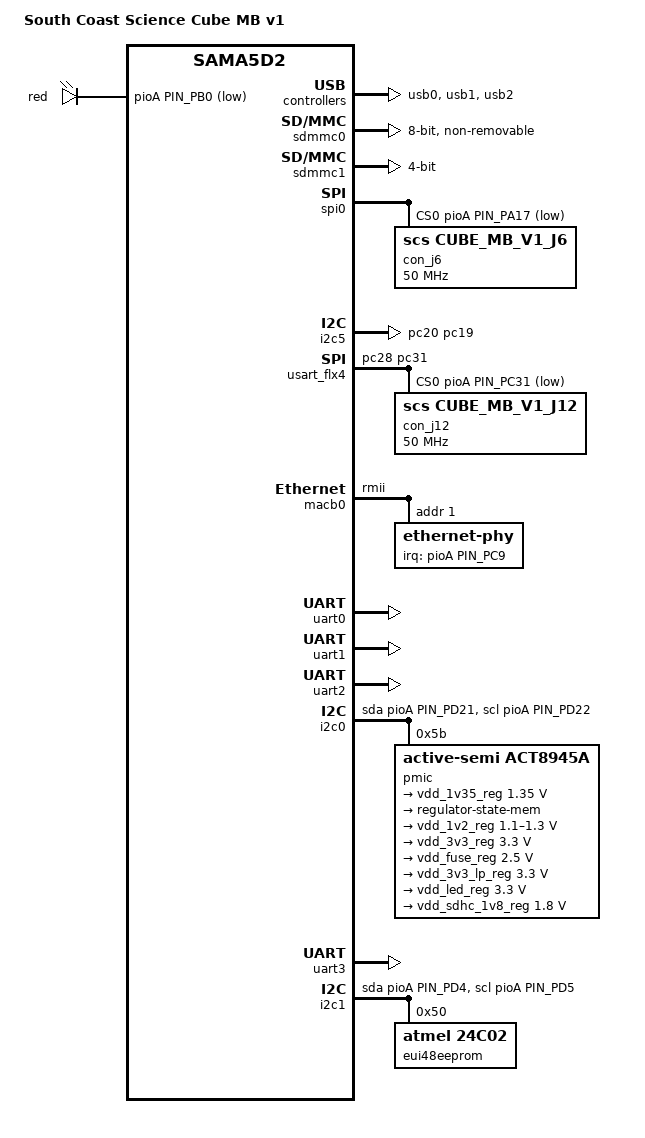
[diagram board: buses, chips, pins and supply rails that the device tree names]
// SPDX-License-Identifier: (GPL-2.0+)
/*
 * at91-sama5d27_scs_cubemb_v1.dts - Device Tree file for South Coast Science Cube Main Board v1
 *
 *  Copyright (C) 2015 Atmel,
 *                2015 Nicolas Ferre <nicolas.ferre@atmel.com>
 *
 *  Copyright (C) 2020 SEOSS Ltd.
 *                2020 Tim Small <tim@seoss.co.uk>
 */
/dts-v1/;
#include "sama5d2.dtsi"
#include "sama5d2-pinfunc.h"
#include <dt-bindings/mfd/atmel-flexcom.h>
#include <dt-bindings/pinctrl/at91.h>
#include <dt-bindings/gpio/gpio.h>
#include <dt-bindings/mfd/at91-usart.h>
#include <dt-bindings/regulator/active-semi,8945a-regulator.h>

/ {
	model = "South Coast Science Cube MB v1";
	compatible = "scs,sama5-cubemb-v1", "atmel,sama5d2", "atmel,sama5";

	aliases {
		serial0 = &uart0;	/* UART0 is connected to J16+J18 (NC) default  (J8 selectable with links) */
		serial1 = &uart1;       /* UART1 is connected to the FTDI USB <-> UART onboard and to J17 DBGU */
		serial2 = &uart2;       /* UART2 is connected to the stm32 */
		serial3 = &uart3;	/* UART3 is connected to J8 default (J16+J18 selectable with links) */
		i2c0    = &i2c0;
		i2c1    = &i2c1;
		i2c5    = &i2c5;
		/* spi0	= &spi6; */  /* flexcom4 SPI mode */
		/* spi0	= &uart9; */ /* flexcom4 USART mode */
		/* spi0	= &flx4_spi; */
		/* spi0	= &flx4_uart_spi; */
		spi0	= &usart_flx4;
		spi1	= &spi0;
        };

	chosen {
		stdout-path = "serial1:115200n8";
	};

	clocks {
		slow_xtal {
			clock-frequency = <32768>;
		};

		main_xtal {
			clock-frequency = <12000000>;
		};
	};

	ahb {
		usb0: gadget@300000 {
			atmel,vbus-gpio = <&pioA PIN_PA31 GPIO_ACTIVE_HIGH>;  // USBB_5V_PRES FIXME check this vs SOM?
			pinctrl-names = "default";
			pinctrl-0 = <&pinctrl_usba_vbus>;
			status = "okay";
		};

		usb1: ohci@400000 {
			num-ports = <3>;
			atmel,vbus-gpio = <0 
					   &pioA PIN_PB10 GPIO_ACTIVE_HIGH // signal USBA_EN5V
					   0
					  >;
			pinctrl-names = "default";
			pinctrl-0 = <&pinctrl_usb_default>;
			status = "okay";
		};

		usb2: ehci@500000 {
			status = "okay";
		};

		sdmmc0: sdio-host@a0000000 {
			bus-width = <8>;
			pinctrl-names = "default";
			pinctrl-0 = <&pinctrl_sdmmc0_default>;
			non-removable;
			mmc-ddr-1_8v;
			status = "okay";
		};

		sdmmc1: sdio-host@b0000000 {
			bus-width = <4>;
			pinctrl-names = "default";
			pinctrl-0 = <&pinctrl_sdmmc1_default>;
			status = "okay";
			/* TODO check with Jamie why this was commented out in his 49 dts? 
			   FIXME check cube MB schematic vs. sama5d2_xplained schematic
			vqmmc-supply = <&vdd_3v3_reg>;
			vmmc-supply = <&vdd_3v3_reg>;
			*/
		};

		apb {
			spi0: spi@f8000000 {
				pinctrl-names = "default";
				/* Function A  PA14 SPCK, PA15 MOSI, PA16 MISO, PA17 NPCS0  */
				/* pinctrl-0 = <&pinctrl_spi0_default>; */
				cs-gpios = <&pioA PIN_PA17 GPIO_ACTIVE_LOW>, <0>, <0>, <0>;
				/* defualt (low?) drive strength: */
				/* pinctrl-0 = <&pinctrl_spi0_def_nocs &pinctrl_spi0_cs>; */
				/* explicit drive for miso and ck pins */
				pinctrl-0 = <&pinctrl_spi0_ck_drv &pinctrl_spi0_mosi_drv &pinctrl_spi0_miso &pinctrl_spi0_cs>;
				status = "okay";

				/* This bus connected to external connector J6 */
				con_j6@0 {
					compatible = "scs,cube_mb_v1_j6";
					reg = <0>;
					spi-max-frequency = <50000000>;
				};
			};

			/* SPI1 signals are NC in this board revision         */
			spi1: spi@fc000000 {                            
				pinctrl-names = "default";              
				pinctrl-0 = <&pinctrl_spi1_default>;    
				status = "disabled";                        

				spidev1: spidev@0 {
					/* compatible = "";   // Currently NC */        
					reg = <0>;                      
					spi-max-frequency = <50000000>; 
				};                                      
			};                                              	

			/* FLEXCOM no. 3 SoC interface configured as i2c, with pins *
			 * clock: PC19, SDA: PC20.                                  *
			 * Jumper links (cur. unpopulated) make this avail on J10   */
			
			flx3: flexcom@fc014000 {
				atmel,flexcom-mode = <ATMEL_FLEXCOM_MODE_TWI>;
				status = "okay";

				i2c5: i2c@600 {
					compatible = "atmel,sama5d2-i2c";
					pinctrl-names = "default", "gpio";
					pinctrl-0 = <&pinctrl_flx3_i2c_pc20_pc19>;
					pinctrl-1 = <&pinctrl_flx3_i2c_pc20_pc19_gpio>;
					sda-gpios = <&pioA PIN_PC20 GPIO_ACTIVE_HIGH>;
					scl-gpios = <&pioA PIN_PC19 (GPIO_ACTIVE_HIGH | GPIO_OPEN_DRAIN)>;
					status = "okay";
				};
			};

			/* FIXME use new definitions from sama5d2.dtsi and just set pinctrl and status = okay */

			/* External SPI connector J12 ("FLEXCOM" no. 4 SoC interface   *
			 * pins PA28 to PA31 (Func B)                                  *
			 * Modifies flx4 definitions from sama5d2.dtsi                 *
			 * See Documentation/devicetree/bindings/mfd/atmel-flexcom.txt */
			flx4: flexcom@fc018000 {
				atmel,flexcom-mode = <ATMEL_FLEXCOM_MODE_USART>;
				status = "okay";

				spi6: spi@400 {
					#address-cells = <1>;
					#size-cells = <0>;
					//status = "okay";

					/* use spi usart driver instead */
					/* use spi usart driver instead */
					/* use spi usart driver instead */
					/* use spi usart driver instead */
					status = "disabled";

					pinctrl-names = "default";
					pinctrl-0 = <&pinctrl_flx4_spi_pc28_pc31>;
					//cs-gpios = <&pioA PIN_PC31 GPIO_ACTIVE_LOW>, <0>, <0>, <0>;
					cs-gpios = <&pioA PIN_PC31 GPIO_ACTIVE_LOW>;

					// This SPI bus brought out onto external connector J12
					con_j12@0 {
						compatible = "scs,cube_mb_v1_j12";
						reg = <0>;
						spi-max-frequency = <50000000>;
					};
				};

				usart_flx4: spi@200 { // n.b. USART peripheral utilised as SPI master.
					#address-cells = <1>;
					#size-cells = <0>;

					compatible = "atmel,at91rm9200-usart", "atmel,at91sam9260-usart", "at91_usart_spi";

					atmel,usart-mode = <AT91_USART_MODE_SPI>;
					pinctrl-names = "default";
					pinctrl-0 = <&pinctrl_flx4_spi_pc28_pc31>;
					reg = <0x200 0x200>;
					interrupts = <23 IRQ_TYPE_LEVEL_HIGH 7>;
					clocks = <&pmc PMC_TYPE_PERIPHERAL 23>;
					clock-names = "usart";
					dmas = <&dma0
						(AT91_XDMAC_DT_MEM_IF(0) |
						 AT91_XDMAC_DT_PER_IF(1) |
						 AT91_XDMAC_DT_PERID(19))>,
					       <&dma0
						(AT91_XDMAC_DT_MEM_IF(0) |
						 AT91_XDMAC_DT_PER_IF(1) |
						 AT91_XDMAC_DT_PERID(20))>;
					dma-names = "tx", "rx";
					atmel,fifo-size = <32>;
					cs-gpios = <&pioA PIN_PC31 GPIO_ACTIVE_LOW>;
					status = "okay";

					/* spi@0 {
						compatible = "microchip,at91sam9g45-usart-spi";
						reg = <0>;
					}; */

					con_j12@0 {
						compatible = "scs,cube_mb_v1_j12";
						reg = <0>;
						spi-max-frequency = <50000000>;
					};
				};

/*				flx4_spi: spi@400 {
					compatible = "atmel,at91rm9200-spi";
					reg = <0x400 0x200>;  // reg offset and length for spi peripheral within flexcom device
					// PID for FLEXCOM4 is 23, high level triggered, priority is 7
					// used to configure FLEXCOM4 interrupt in AIC
					interrupts = <23 IRQ_TYPE_LEVEL_HIGH 7>;
					#address-cells = <1>;
					#size-cells = <0>;
					dmas = <&dma0
					(AT91_XDMAC_DT_MEM_IF(0) | AT91_XDMAC_DT_PER_IF(1) |
					 AT91_XDMAC_DT_PERID(19))>,
					<&dma0
					(AT91_XDMAC_DT_MEM_IF(0) | AT91_XDMAC_DT_PER_IF(1) |
					 AT91_XDMAC_DT_PERID(20))>;
					dma-names = "tx", "rx";
					clocks = <&pmc PMC_TYPE_PERIPHERAL 23>;
					clock-names = "spi_clk";
					pinctrl-names = "default";
					pinctrl-0 = <&pinctrl_flx4_spi_pc28_pc31>;
					atmel,fifo-size = <16>;
					// status = "disabled"; //  use spi usart driver instead
					status = "okay";

					con_j12@0 {                     
						compatible = "scs,cube_mb_v1_j12";
						reg = <0>;
						spi-max-frequency = <50000000>; 
					};

				}; 
/*

/*				uart9: serial@200 {
					compatible = "atmel,at91sam9260-usart";
					reg = <0x200 0x200>;
					interrupts = <23 IRQ_TYPE_LEVEL_HIGH 7>;
					clocks = <&pmc PMC_TYPE_PERIPHERAL 23>;
					clock-names = "usart";
					dmas = <&dma0
						(AT91_XDMAC_DT_MEM_IF(0) |
						 AT91_XDMAC_DT_PER_IF(1) |
						 AT91_XDMAC_DT_PERID(19))>,
					       <&dma0
						(AT91_XDMAC_DT_MEM_IF(0) |
						 AT91_XDMAC_DT_PER_IF(1) |
						 AT91_XDMAC_DT_PERID(20))>;
					dma-names = "tx", "rx";
					atmel,fifo-size = <32>;
					status = "disabled";
				}; */

/*				flx4_usart_spi: usart_spi@200 {
					compatible = "atmel,at91rm9200-usart", "atmel,at91sam9260-usart";
					atmel,usart-mode = <AT91_USART_MODE_SPI>;
					reg = <0x200 0x200>;
				}; */

				i2c@600 {
					status = "disabled";
				};
			};

			macb0: ethernet@f8008000 {
				pinctrl-names = "default";
				pinctrl-0 = <&pinctrl_macb0_default &pinctrl_macb0_phy_irq>;
				phy-mode = "rmii";
				status = "okay";

				ethernet-phy@1 {
					reg = <0x1>;
					interrupt-parent = <&pioA>;
					interrupts = <PIN_PC9 IRQ_TYPE_LEVEL_LOW>;
				};
			};

			/* n.b. FIXME, review. This tcb block absent from Jamie's 4.19.x device table */
			tcb0: timer@f800c000 {
				timer0: timer@0 {
					compatible = "atmel,tcb-timer";
					reg = <0>;
				};

				timer1: timer@1 {
					compatible = "atmel,tcb-timer";
					reg = <1>;
				};
			};
			uart0: serial@f801c000 {
				pinctrl-names = "default";
				pinctrl-0 = <&pinctrl_uart0_default>;
				atmel,use-dma-rx;
				atmel,use-dma-tx;
				status = "okay";
			};

			uart1: serial@f8020000 {
				pinctrl-names = "default";
				pinctrl-0 = <&pinctrl_uart1_default>;
				atmel,use-dma-rx;
				atmel,use-dma-tx;
				status = "okay";
			};

			uart2: serial@f8024000 {
				pinctrl-names = "default";
				pinctrl-0 = <&pinctrl_uart2_default>;
				atmel,use-dma-rx;
				atmel,use-dma-tx;
				status = "okay";
			};


			/* I2C0 connected to PMIC only (not brought out to external connectors) */
			i2c0: i2c@f8028000 {
				dmas = <0>, <0>;
				pinctrl-names = "default", "gpio";
				pinctrl-0 = <&pinctrl_i2c0_default>;
				pinctrl-1 = <&pinctrl_i2c0_gpio>;
				sda-gpios = <&pioA PIN_PD21 GPIO_ACTIVE_HIGH>;
				scl-gpios = <&pioA PIN_PD22 (GPIO_ACTIVE_HIGH | GPIO_OPEN_DRAIN)>;
				i2c-sda-hold-time-ns = <350>;
				status = "okay";

				pmic@5b {
					compatible = "active-semi,act8945a";
					reg = <0x5b>;
					active-semi,vsel-high;
					status = "okay";

					regulators {
						vdd_1v35_reg: REG_DCDC1 {
							regulator-name = "VDD_1V35";
							regulator-min-microvolt = <1350000>;
							regulator-max-microvolt = <1350000>;
							regulator-allowed-modes = <ACT8945A_REGULATOR_MODE_FIXED>,
										  <ACT8945A_REGULATOR_MODE_LOWPOWER>;
							regulator-initial-mode = <ACT8945A_REGULATOR_MODE_FIXED>;
							regulator-always-on;

							regulator-state-mem {
								regulator-on-in-suspend;
								regulator-suspend-min-microvolt=<1400000>;
								regulator-suspend-max-microvolt=<1400000>;
								regulator-changeable-in-suspend;
								regulator-mode=<ACT8945A_REGULATOR_MODE_LOWPOWER>;
							};
						};

						vdd_1v2_reg: REG_DCDC2 {
							regulator-name = "VDD_1V2";
							regulator-min-microvolt = <1100000>;
							regulator-max-microvolt = <1300000>;
							regulator-allowed-modes = <ACT8945A_REGULATOR_MODE_FIXED>,
										  <ACT8945A_REGULATOR_MODE_LOWPOWER>;
							regulator-initial-mode = <ACT8945A_REGULATOR_MODE_FIXED>;
							regulator-always-on;

							regulator-state-mem {
								regulator-off-in-suspend;
							};
						};

						vdd_3v3_reg: REG_DCDC3 {
							regulator-name = "VDD_3V3";
							regulator-min-microvolt = <3300000>;
							regulator-max-microvolt = <3300000>;
							regulator-allowed-modes = <ACT8945A_REGULATOR_MODE_FIXED>,
										  <ACT8945A_REGULATOR_MODE_LOWPOWER>;
							regulator-initial-mode = <ACT8945A_REGULATOR_MODE_FIXED>;
							regulator-always-on;

							regulator-state-mem {
								regulator-off-in-suspend;
							};
						};

						vdd_fuse_reg: REG_LDO1 {
							regulator-name = "VDD_FUSE";
							regulator-min-microvolt = <2500000>;
							regulator-max-microvolt = <2500000>;
							regulator-allowed-modes = <ACT8945A_REGULATOR_MODE_NORMAL>,
										  <ACT8945A_REGULATOR_MODE_LOWPOWER>;
							regulator-initial-mode = <ACT8945A_REGULATOR_MODE_NORMAL>;
							regulator-always-on;

							regulator-state-mem {
								regulator-off-in-suspend;
							};
						};

						vdd_3v3_lp_reg: REG_LDO2 {
							regulator-name = "VDD_3V3_LP";
							regulator-min-microvolt = <3300000>;
							regulator-max-microvolt = <3300000>;
							regulator-allowed-modes = <ACT8945A_REGULATOR_MODE_NORMAL>,
										  <ACT8945A_REGULATOR_MODE_LOWPOWER>;
							regulator-initial-mode = <ACT8945A_REGULATOR_MODE_NORMAL>;
							regulator-always-on;

							regulator-state-mem {
								regulator-off-in-suspend;
							};
						};

						vdd_led_reg: REG_LDO3 {
							regulator-name = "VDD_LED";
							regulator-min-microvolt = <3300000>;
							regulator-max-microvolt = <3300000>;
							regulator-allowed-modes = <ACT8945A_REGULATOR_MODE_NORMAL>,
										  <ACT8945A_REGULATOR_MODE_LOWPOWER>;
							regulator-initial-mode = <ACT8945A_REGULATOR_MODE_NORMAL>;
							regulator-always-on;

							regulator-state-mem {
								regulator-off-in-suspend;
							};
						};

						vdd_sdhc_1v8_reg: REG_LDO4 {
							regulator-name = "VDD_SDHC_1V8";
							regulator-min-microvolt = <1800000>;
							regulator-max-microvolt = <1800000>;
							regulator-allowed-modes = <ACT8945A_REGULATOR_MODE_NORMAL>,
										  <ACT8945A_REGULATOR_MODE_LOWPOWER>;
							regulator-initial-mode = <ACT8945A_REGULATOR_MODE_NORMAL>;
							regulator-always-on;

							regulator-state-mem {
								regulator-off-in-suspend;
							};
						};
					};

					charger {
						compatible = "active-semi,act8945a-charger";
						pinctrl-names = "default";
						pinctrl-0 = <&pinctrl_charger_chglev &pinctrl_charger_lbo &pinctrl_charger_irq>;
						interrupt-parent = <&pioA>;
						interrupts = <PIN_PB13 IRQ_TYPE_EDGE_RISING>;

						active-semi,chglev-gpios = <&pioA PIN_PA12 GPIO_ACTIVE_HIGH>;
						active-semi,lbo-gpios = <&pioA PIN_PC8 GPIO_ACTIVE_LOW>;
						active-semi,input-voltage-threshold-microvolt = <6600>;
						active-semi,precondition-timeout = <40>;
						active-semi,total-timeout = <3>;
						status = "okay";
					};
				};
			};

			shdwc@f8048010 {
				atmel,shdwc-debouncer = <976>;
				atmel,wakeup-rtc-timer;

				input@0 {
					reg = <0>;
					atmel,wakeup-type = "low";
				};
			};

			watchdog@f8048040 {
				status = "okay";
			};

			uart3: serial@fc008000 {
				atmel,use-dma-rx;
				atmel,use-dma-tx;
				pinctrl-names = "default";
				pinctrl-0 = <&pinctrl_uart3_default>;
				status = "okay";
			};

			/* I2C1 connected to J7, J9, J10 (resistor links default), J11, MCU, 24AA02 */
			/* I2C resistor links to J10 */
			i2c1: i2c@fc028000 {
				dmas = <0>, <0>;
				pinctrl-names = "default", "gpio";
				pinctrl-0 = <&pinctrl_i2c1_default>;
				i2c-analog-filter;
				i2c-digital-filter;
				i2c-digital-filter-width-ns = <35>;
				pinctrl-1 = <&pinctrl_i2c1_gpio>;
				sda-gpios = <&pioA PIN_PD4 GPIO_ACTIVE_HIGH>;
				scl-gpios = <&pioA PIN_PD5 (GPIO_ACTIVE_HIGH | GPIO_OPEN_DRAIN)>;
				status = "okay";

				/* 24AA02E48T-I/OT 2 Kbit, 8-byte page, I²C EEPROM with EUI-48 Node Identity */
				/* n.b. This responds on addresses 0x50 to 0x57 */
				eui48eeprom: eeprom@50 {
					compatible = "atmel,24c02", "microchip,24aa02e48";
					reg = <0x50>;
					pagesize = <8>;
				};
			};

			pinctrl@fc038000 {

				pinctrl_charger_chglev: charger_chglev {
					pinmux = <PIN_PA12__GPIO>;
					bias-disable;
				};

				pinctrl_charger_irq: charger_irq {
					pinmux = <PIN_PB13__GPIO>;
					bias-disable;
				};

				pinctrl_charger_lbo: charger_lbo {
					pinmux = <PIN_PC8__GPIO>;
					bias-pull-up;
				};


/* FIXME add flexcom3 i2c gpio */
				pinctrl_flx3_i2c_pc20_pc19: flx3_i2c_pc20_pc19 {
					pinmux = <PIN_PC20__FLEXCOM3_IO0>,
						 <PIN_PC19__FLEXCOM3_IO1>;
					bias-disable;
				};

				pinctrl_flx3_i2c_pc20_pc19_gpio: flx3_i2c_pc20_pc19 {
					pinmux = <PIN_PC20__GPIO>,
						 <PIN_PC19__GPIO>;
					bias-disable;
				};

				/* Flexcom 4 IO Set 1, function B - ref SAMA5D2 Series Datasheet Section 6.2 Pinouts */
				pinctrl_flx4_spi_pc28_pc31: flx4_spi_pc28_pc31 {
					pinmux = <PIN_PC28__FLEXCOM4_IO0>,  /* SPI MOSI */
						 <PIN_PC29__FLEXCOM4_IO1>,  /* SPI MISO */
						 <PIN_PC30__FLEXCOM4_IO2>,  /* SPI SPCK */
						 <PIN_PC31__FLEXCOM4_IO3>;  /* PC31 is used for CS0 - FIXME Check */
					bias-disable;
				};

				pinctrl_i2c0_default: i2c0_default {
					pinmux = <PIN_PD21__TWD0>,
						 <PIN_PD22__TWCK0>;
					bias-disable;
				};

				pinctrl_i2c0_gpio: i2c0_gpio {
					pinmux = <PIN_PD21__GPIO>,
						 <PIN_PD22__GPIO>;
					bias-disable;
				};

				pinctrl_i2c1_default: i2c1_default {
					pinmux = <PIN_PD4__TWD1>,
						 <PIN_PD5__TWCK1>;
					bias-disable;
				};

				pinctrl_i2c1_gpio: i2c1_gpio {
					pinmux = <PIN_PD4__GPIO>,
						 <PIN_PD5__GPIO>;
					bias-disable;
				};


				pinctrl_key_gpio_default: key_gpio_default {
					pinmux = <PIN_PB9__GPIO>;
					bias-pull-up;
				};

				pinctrl_led_gpio_default: led_gpio_default {
					pinmux = <PIN_PB0__GPIO>,
						 <PIN_PB5__GPIO>,
						 <PIN_PB6__GPIO>;
					bias-pull-up;
				};

				pinctrl_macb0_default: macb0_default {
					pinmux = <PIN_PB14__GTXCK>,
						 <PIN_PB15__GTXEN>,
						 <PIN_PB16__GRXDV>,
						 <PIN_PB17__GRXER>,
						 <PIN_PB18__GRX0>,
						 <PIN_PB19__GRX1>,
						 <PIN_PB20__GTX0>,
						 <PIN_PB21__GTX1>,
						 <PIN_PB22__GMDC>,
						 <PIN_PB23__GMDIO>;
					bias-disable;
				};

				pinctrl_macb0_phy_irq: macb0_phy_irq {
					pinmux = <PIN_PC9__GPIO>;
					bias-disable;
				};

				pinctrl_sdmmc0_default: sdmmc0_default {
					cmd_data {
						pinmux = <PIN_PA1__SDMMC0_CMD>,
							 <PIN_PA2__SDMMC0_DAT0>,
							 <PIN_PA3__SDMMC0_DAT1>,
							 <PIN_PA4__SDMMC0_DAT2>,
							 <PIN_PA5__SDMMC0_DAT3>,
							 <PIN_PA6__SDMMC0_DAT4>,
							 <PIN_PA7__SDMMC0_DAT5>,
							 <PIN_PA8__SDMMC0_DAT6>,
							 <PIN_PA9__SDMMC0_DAT7>;
						bias-disable;
					};

					ck_cd_rstn_vddsel {
						pinmux = <PIN_PA0__SDMMC0_CK>,
							 <PIN_PA10__SDMMC0_RSTN>,
							 <PIN_PA11__SDMMC0_VDDSEL>,
							 <PIN_PA13__SDMMC0_CD>;
						bias-disable;
					};
				};

				pinctrl_sdmmc1_default: sdmmc1_default {
					cmd_data {
						pinmux = <PIN_PA28__SDMMC1_CMD>,
							 <PIN_PA18__SDMMC1_DAT0>,
							 <PIN_PA19__SDMMC1_DAT1>,
							 <PIN_PA20__SDMMC1_DAT2>,
							 <PIN_PA21__SDMMC1_DAT3>;
						bias-disable;
					};

					conf-ck_cd {
						pinmux = <PIN_PA22__SDMMC1_CK>,
							 <PIN_PA30__SDMMC1_CD>;
						bias-disable;
					};
				};

				pinctrl_spi0_default: spi0_default {
					pinmux = <PIN_PA14__SPI0_SPCK>,
						 <PIN_PA15__SPI0_MOSI>,
						 <PIN_PA16__SPI0_MISO>,
						 <PIN_PA17__SPI0_NPCS0>;
					bias-disable;
				};

				pinctrl_spi0_def_nocs: spi0_def_nocs {
					pinmux = <PIN_PA14__SPI0_SPCK>,
						 <PIN_PA15__SPI0_MOSI>,
						 <PIN_PA16__SPI0_MISO>;
					bias-disable;
				};

				pinctrl_spi0_ck_drv: spi0_def_ck_drv {
					pinmux = <PIN_PA14__SPI0_SPCK>;
					bias-disable;
					atmel,drive-strength = <ATMEL_PIO_DRVSTR_ME>;
				};

				pinctrl_spi0_mosi_drv: spi0_mosi_drv {
					pinmux = <PIN_PA15__SPI0_MOSI>;
					bias-disable;
					atmel,drive-strength = <ATMEL_PIO_DRVSTR_ME>;
				};

				pinctrl_spi0_miso: spi0_miso {
					pinmux = <PIN_PA16__SPI0_MISO>;
					bias-disable;
				};

				pinctrl_spi0_cs: spi0_cs {

					pinmux = <PIN_PA17__SPI0_NPCS0>;
					bias-disable;
				};

				/* START review Block added by Jamie to his 4-19 kernel device tree */
				pinctrl_spi1_default: spi1_default {   
					pinmux = <PIN_PC1__SPI1_SPCK>, 
						 <PIN_PC2__SPI1_MOSI>, 
						 <PIN_PC3__SPI1_MISO>, 
						 <PIN_PC4__SPI1_NPCS0>;
					bias-disable;                  
				};                                     
								       
				pinctrl_uart0_default: uart0_default { 
					pinmux = <PIN_PB26__URXD0>,    
						 <PIN_PB27__UTXD0>;    
					bias-disable;                  
				};                                     
				/* END review Block added by Jamie to his 4-19 kernel device tree */

				pinctrl_uart1_default: uart1_default {
					pinmux = <PIN_PD2__URXD1>,
						 <PIN_PD3__UTXD1>;
					bias-disable;
				};

				/* START review Block added by Jamie to his 4-19 kernel device tree */
				pinctrl_uart2_default: uart2_default {
					pinmux = <PIN_PD23__URXD2>,   
						 <PIN_PD24__UTXD2>;   
					bias-disable;                 
				};                                    
				/* END review Block added by Jamie to his 4-19 kernel device tree */

				pinctrl_uart3_default: uart3_default {
					pinmux = <PIN_PB11__URXD3>,
						 <PIN_PB12__UTXD3>;
					bias-disable;
				};

				/* FIXME FIXME check this  */
				pinctrl_usb_default: usb_default {
					/* pinmux line changed (by Jamie?) */
					/* pinmux = <PIN_PB10__GPIO>; */
					pinmux = <PIN_PA31__GPIO>;
					bias-disable;
				};

				/* FIXME FIXME check this  */
				pinctrl_usba_vbus: usba_vbus {
					/* pinmux line changed (by Jamie?) */
					/* pinmux = <PIN_PA31__GPIO>; */
					pinmux = <PIN_PB10__GPIO>;
					/* FIXME PA29 is connected to USBA over current signal */
/*
							<PIN_PA29_GPIO>;
*/
					bias-disable;
				};
			};
		};
	};

	leds {
		compatible = "gpio-leds";
		pinctrl-names = "default";
		pinctrl-0 = <&pinctrl_led_gpio_default>;
		status = "okay";

		red {
			label = "red";
			gpios = <&pioA PIN_PB0 GPIO_ACTIVE_LOW>;
			linux,default-trigger = "heartbeat";
		};
	};
};
